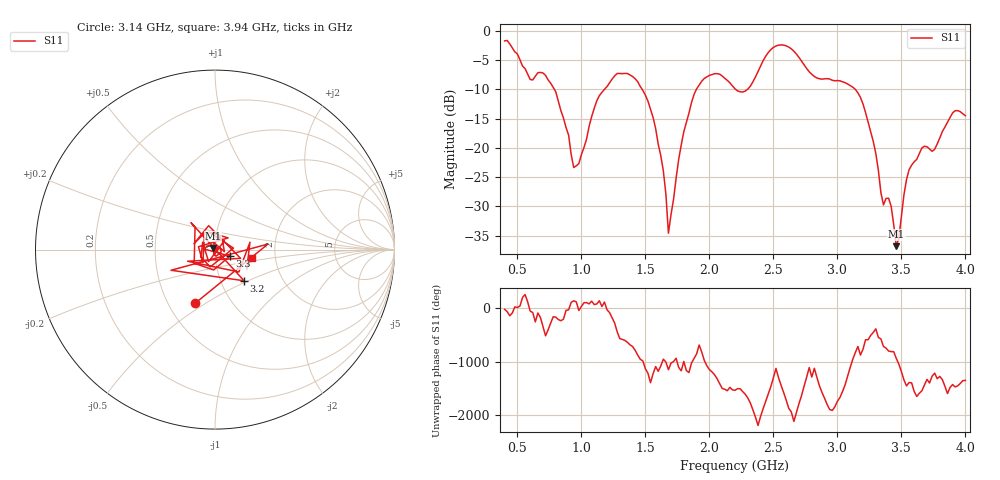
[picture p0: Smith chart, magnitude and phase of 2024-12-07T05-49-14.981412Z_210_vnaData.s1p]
!Created with skrf (http://scikit-rf.org).
# Hz S RI R 50.0
!freq ReS11 ImS11
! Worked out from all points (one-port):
!   181 points, 400 MHz to 4 GHz, reference 50 ohm
!   lowest |S11| = -36.8 dB at 3.46 GHz (marker M1), VSWR 1.03, Z = 48.9 + j0.855 ohm
!   |S11| at or under -10 dB: 789.2 MHz to 1.179 GHz (390 MHz wide, 39.6 % of centre); 1.475 GHz to 1.898 GHz (422.4 MHz wide, 25 % of centre); 3.141 GHz to end of sweep (the widest 3 of 4)
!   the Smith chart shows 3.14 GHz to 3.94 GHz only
!   S11 on the Smith chart (normalised r, x): 3.14 GHz: 0.68, -0.45; 3.2 GHz: 1.29, -0.47; 3.3 GHz: 1.18, -0.09; 3.94 GHz: 1.50, -0.14
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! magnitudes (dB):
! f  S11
! 400 MHz  -1.7
! 600 MHz  -8.3
! 720 MHz  -7.6
! 860 MHz  -14.9
! 960 MHz  -23.1
! 1.12 GHz  -11.9
! 1.3 GHz  -7.3
! 1.44 GHz  -8.7
! 1.56 GHz  -14.8
! 1.64 GHz  -23.9
! 1.68 GHz  -34.6
! 1.76 GHz  -22.0
! 1.86 GHz  -12.2
! 1.94 GHz  -8.6
! 2.2 GHz  -9.9
! 2.3 GHz  -9.9
! 2.5 GHz  -2.8
! 2.66 GHz  -3.5
! 3.1 GHz  -9.3
! 3.14 GHz  -10.0
! 3.2 GHz  -12.5
! 3.3 GHz  -20.9
! 3.36 GHz  -29.7
! 3.42 GHz  -30.0
! 3.46 GHz  -36.8
! 3.56 GHz  -23.7
! 3.94 GHz  -13.6
! 4 GHz  -14.5
